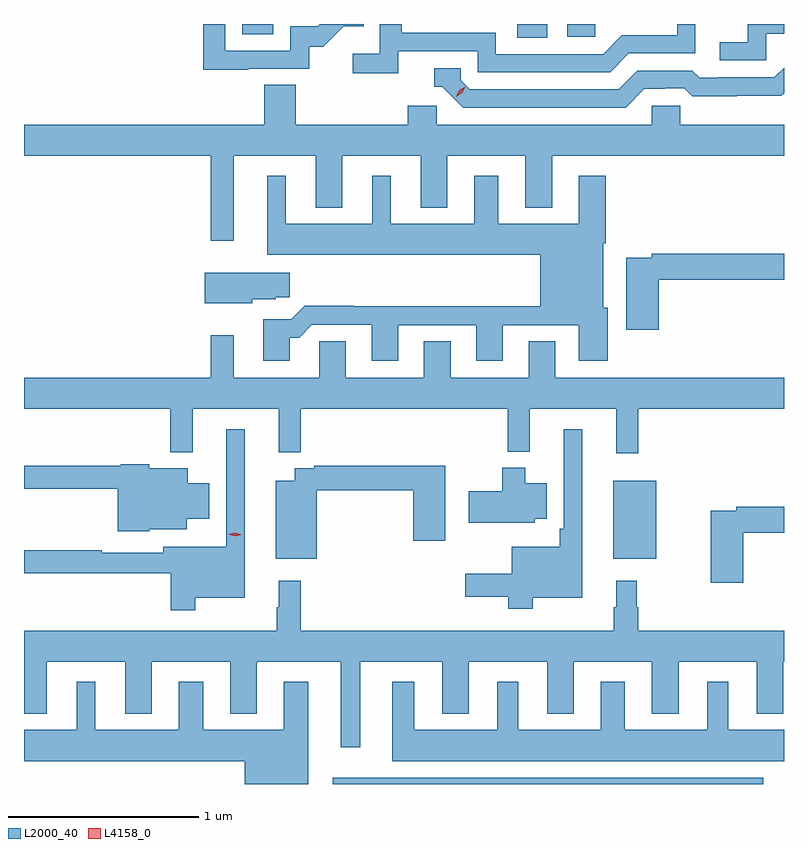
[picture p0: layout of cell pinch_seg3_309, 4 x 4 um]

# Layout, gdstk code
import gdstk
lib = gdstk.Library(unit=1e-6, precision=1e-09)
def R(c, l, rs):  # rectangles x0, y0, x1, y1
    for r in rs: c.add(gdstk.rectangle(r[:2], r[2:], *l))
def P(c, l, *ps):  # polygons
    for p in ps: c.add(gdstk.Polygon(p, *l))
L2000_40 = (2000, 40)
L4158_0 = (4158, 0)

pinch_seg3_309 = lib.new_cell('pinch_seg3_309')
R(pinch_seg3_309, L2000_40, [(998.742,710.929,1001.008,710.962), (1000.217,712.115,1000.444,712.525), (999.711,714.856,999.87,714.929), (999.975,714.861,1000.122,714.929), (998.264,714.876,998.428,714.929)])
P(pinch_seg3_309, L2000_40, [(999.086,714.786),(999.504,714.786),(999.504,714.675),(1000.201,714.675),(1000.3,714.774),(1000.65,714.774),(1000.65,714.929),(1000.554,714.929),(1000.554,714.87),(1000.263,714.87),(1000.164,714.771),(999.6,714.771),(999.6,714.883),(999.104,714.883),(999.104,714.929),(998.988,714.929),(998.988,714.772),(998.847,714.772),(998.847,714.67),(999.086,714.67)],
  [(998.297,714.693),(998.616,714.693),(998.616,714.81),(998.692,714.81),(998.799,714.917),(998.903,714.917),(998.903,714.929),(998.672,714.929),(998.661,714.918),(998.517,714.918),(998.517,714.789),(998.175,714.789),(998.175,714.929),(998.059,714.929),(998.059,714.688),(998.297,714.688)],
  [(1001.022,714.879),(1001.116,714.879),(1001.116,714.929),(1000.926,714.929),(1000.926,714.834),(1000.779,714.834),(1000.779,714.738),(1001.022,714.738)],
  [(1000.381,714.588),(1000.488,714.588),(1000.488,714.591),(1000.591,714.591),(1000.633,714.549),(1000.866,714.549),(1000.866,714.551),(1001.102,714.551),(1001.116,714.565),(1001.116,714.7),(1001.064,714.648),(1000.771,714.648),(1000.771,714.645),(1000.672,714.645),(1000.633,714.684),(1000.344,714.684),(1000.245,714.585),(999.462,714.585),(999.414,714.633),(999.414,714.696),(999.275,714.696),(999.275,714.6),(999.318,714.6),(999.429,714.489),(1000.282,714.489)],
  [(998.221,714.236),(998.651,714.236),(998.651,713.963),(998.791,713.963),(998.791,714.236),(999.203,714.236),(999.203,713.963),(999.343,713.963),(999.343,714.236),(999.755,714.236),(999.755,713.963),(999.895,713.963),(999.895,714.236),(1001.116,714.236),(1001.116,714.4),(1000.569,714.4),(1000.569,714.498),(1000.419,714.498),(1000.419,714.4),(999.288,714.4),(999.288,714.498),(999.137,714.498),(999.137,714.4),(998.546,714.4),(998.546,714.608),(998.381,714.608),(998.381,714.4),(997.116,714.4),(997.116,714.236),(998.1,714.236),(998.1,713.787),(998.221,713.787)],
  [(998.515,713.279),(998.564,713.279),(998.631,713.346),(998.945,713.346),(998.945,713.157),(999.085,713.157),(999.085,713.343),(999.497,713.343),(999.497,713.157),(999.637,713.157),(999.637,713.343),(1000.037,713.343),(1000.037,713.157),(1000.189,713.157),(1000.189,713.436),(1000.165,713.436),(1000.165,713.774),(1000.178,713.774),(1000.178,714.13),(1000.037,714.13),(1000.037,713.878),(999.613,713.878),(999.613,714.13),(999.485,714.13),(999.485,713.878),(999.046,713.878),(999.046,714.13),(998.948,714.13),(998.948,713.878),(998.494,713.878),(998.494,714.13),(998.396,714.13),(998.396,713.714),(999.833,713.714),(999.833,713.444),(998.849,713.444),(998.849,713.447),(998.594,713.447),(998.523,713.376),(998.375,713.376),(998.375,713.157),(998.515,713.157)],
  [(1000.457,713.584),(1001.116,713.584),(1001.116,713.72),(1000.42,713.72),(1000.42,713.7),(1000.286,713.7),(1000.286,713.319),(1000.457,713.319)],
  [(998.316,713.48),(998.442,713.48),(998.442,713.491),(998.515,713.491),(998.515,713.62),(998.066,713.62),(998.066,713.459),(998.316,713.459)],
  [(1000.349,712.904),(1001.116,712.904),(1001.116,713.068),(999.913,713.068),(999.913,713.258),(999.773,713.258),(999.773,713.068),(999.361,713.068),(999.361,713.258),(999.221,713.258),(999.221,713.068),(998.809,713.068),(998.809,713.258),(998.67,713.258),(998.67,713.068),(998.221,713.068),(998.221,713.29),(998.1,713.29),(998.1,713.068),(997.116,713.068),(997.116,712.904),(997.885,712.904),(997.885,712.676),(998.003,712.676),(998.003,712.904),(998.456,712.904),(998.456,712.675),(998.573,712.675),(998.573,712.904),(999.661,712.904),(999.661,712.679),(999.779,712.679),(999.779,712.904),(1000.232,712.904),(1000.232,712.671),(1000.349,712.671)],
  [(999.793,711.908),(1000.054,711.908),(1000.054,712.795),(999.957,712.795),(999.957,712.273),(999.937,712.273),(999.937,712.177),(999.683,712.177),(999.683,712.036),(999.438,712.036),(999.438,711.914),(999.664,711.914),(999.664,711.851),(999.793,711.851)],
  [(998.017,711.908),(998.278,711.908),(998.278,712.795),(998.181,712.795),(998.181,712.177),(997.848,712.177),(997.848,712.146),(997.526,712.146),(997.526,712.159),(997.116,712.159),(997.116,712.038),(997.888,712.038),(997.888,711.843),(998.017,711.843)],
  [(997.776,712.271),(997.972,712.271),(997.972,712.325),(998.092,712.325),(998.092,712.513),(997.978,712.513),(997.978,712.591),(997.776,712.591),(997.776,712.611),(997.626,712.611),(997.626,712.603),(997.116,712.603),(997.116,712.482),(997.61,712.482),(997.61,712.259),(997.776,712.259)],
  [(998.656,712.474),(999.164,712.474),(999.164,712.209),(999.334,712.209),(999.334,712.603),(998.644,712.603),(998.644,712.59),(998.54,712.59),(998.54,712.525),(998.441,712.525),(998.441,712.115),(998.656,712.115)],
  [(999.804,712.325),(999.868,712.325),(999.868,712.513),(999.754,712.513),(999.754,712.594),(999.632,712.594),(999.632,712.47),(999.456,712.47),(999.456,712.304),(999.804,712.304)],
  [(1000.901,712.252),(1001.116,712.252),(1001.116,712.388),(1000.864,712.388),(1000.864,712.368),(1000.73,712.368),(1000.73,711.987),(1000.901,711.987)],
  [(998.887,711.572),(999.317,711.572),(999.317,711.299),(999.457,711.299),(999.457,711.572),(999.869,711.572),(999.869,711.299),(1000.009,711.299),(1000.009,711.572),(1000.421,711.572),(1000.421,711.299),(1000.561,711.299),(1000.561,711.572),(1000.973,711.572),(1000.973,711.299),(1001.113,711.299),(1001.113,711.572),(1001.116,711.572),(1001.116,711.736),(1000.349,711.736),(1000.349,711.86),(1000.342,711.86),(1000.342,712),(1000.232,712),(1000.232,711.86),(1000.221,711.86),(1000.221,711.736),(998.573,711.736),(998.573,712),(998.456,712),(998.456,711.86),(998.445,711.86),(998.445,711.736),(997.116,711.736),(997.116,711.299),(997.237,711.299),(997.237,711.572),(997.649,711.572),(997.649,711.299),(997.789,711.299),(997.789,711.572),(998.201,711.572),(998.201,711.299),(998.341,711.299),(998.341,711.572),(998.783,711.572),(998.783,711.123),(998.887,711.123)],
  [(998.611,711.466),(998.483,711.466),(998.483,711.214),(998.059,711.214),(998.059,711.466),(997.931,711.466),(997.931,711.214),(997.492,711.214),(997.492,711.466),(997.394,711.466),(997.394,711.214),(997.116,711.214),(997.116,711.05),(998.279,711.05),(998.279,710.929),(998.611,710.929)],
  [(1001.116,711.214),(1000.822,711.214),(1000.822,711.466),(1000.712,711.466),(1000.712,711.214),(1000.279,711.214),(1000.279,711.466),(1000.151,711.466),(1000.151,711.214),(999.718,711.214),(999.718,711.466),(999.608,711.466),(999.608,711.214),(999.169,711.214),(999.169,711.466),(999.053,711.466),(999.053,711.05),(1001.116,711.05)])
P(pinch_seg3_309, L4158_0, [(998.226,712.232),(998.191,712.244),(998.191,712.244),(998.191,712.244),(998.227,712.252),(998.262,712.241),(998.262,712.24),(998.262,712.24)],
  [(999.391,714.547),(999.391,714.547),(999.407,714.58),(999.438,714.599),(999.438,714.599),(999.438,714.598),(999.422,714.566),(999.391,714.547)])

lib.write_gds('pinch_seg3_309.gds')
